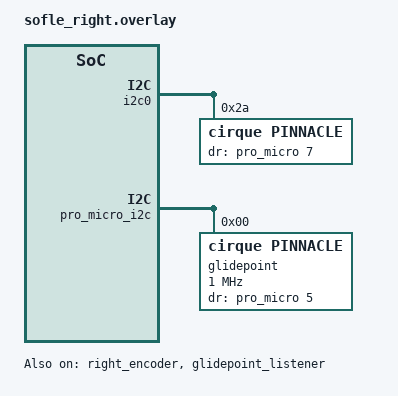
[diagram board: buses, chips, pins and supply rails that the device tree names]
/*
 * Copyright (c) 2020 Ryan Cross
 *
 * SPDX-License-Identifier: MIT
 */

#include "sofle.dtsi"

&default_transform {
    col-offset = <6>;
};

&kscan0 {
    col-gpios
        = <&pro_micro 10 GPIO_ACTIVE_HIGH>
        , <&pro_micro 16 GPIO_ACTIVE_HIGH>
        , <&pro_micro 14 GPIO_ACTIVE_HIGH>
        , <&pro_micro 15 GPIO_ACTIVE_HIGH>
        , <&pro_micro 18 GPIO_ACTIVE_HIGH>
        , <&pro_micro 19 GPIO_ACTIVE_HIGH>
        ;
};

&right_encoder {
    status = "okay";
};

&i2c0 {
    status = "okay";
    pinnacle: trackpad@2a {
        compatible = "cirque,pinnacle";
        reg = <0x2a>;
        dr-gpios = <&pro_micro 7 GPIO_ACTIVE_HIGH>;
        sensitivity = "4x";
        rotate-90;
    };
};

/*central config for glidepoint listener*/

&pro_micro_i2c {
    status = "okay";
    cs-gpios = <&pro_micro 19 GPIO_ACTIVE_LOW>;

    glidepoint: glidepoint@0 {
        compatible = "cirque,pinnacle";
        reg = <0>;
        spi-max-frequency = <1000000>;
        status = "okay";
        dr-gpios = <&pro_micro 5 (GPIO_ACTIVE_HIGH)>;

        sensitivity = "4x";
        sleep;
        no-taps;
    };
};

&glidepoint_listener {
    status = "okay";
};
